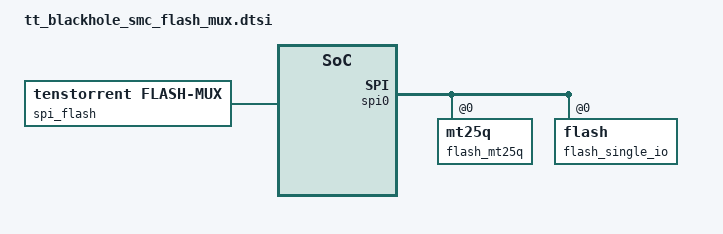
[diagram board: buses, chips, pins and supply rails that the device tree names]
/*
 * Copyright (c) 2026 Tenstorrent AI ULC
 *
 * SPDX-License-Identifier: Apache-2.0
 */

/*
 * Runtime-selected flash configuration. Replaces the spi_flash chip node
 * with one candidate configuration per supported chip and a mux that
 * selects among them at boot: the MT25Q that every board revision was
 * qualified with, plus a standard SPI fallback that accepts anything
 * else. tt_blackhole_smc_flash_second_source.dtsi adds fast
 * configurations for the other qualified parts.
 *
 * Include from a board revision overlay, before any partition
 * adjustments.
 */

/delete-node/ &spi_flash;

/* Properties common to every flash candidate below. All describe the same
 * physical chip on CS 0.
 *
 * Programming has experimentally been reliable up to 17 MHz, use 15 to be
 * safe. Reading can operate at higher frequencies: reliable up to 50 MHz,
 * use 40 to be safe.
 */
#define TT_SPI_FLASH_COMMON \
	compatible = "jedec,mspi-nor"; \
	reg = <0>; \
	status = "okay"; \
	size = <DT_SIZE_M(512)>; \
	mspi-max-frequency = <DT_FREQ_M(15)>; \
	read-frequency = <DT_FREQ_M(40)>; \
	mspi-data-rate = "MSPI_DATA_RATE_SINGLE"; \
	use-4byte-addressing; \
	mspi-endian = "MSPI_BIG_ENDIAN"; \
	transfer-timeout = <100>;

&spi0 {
	/* The flash candidates below are distinct devices for the same chip;
	 * reconfigure the controller whenever a different one accesses it.
	 */
	software-multiperipheral;

	/* One candidate configuration per supported flash chip. All probe
	 * at boot; the driver's jedec-id check fails initialization for
	 * every candidate but the one matching the fitted chip, and the
	 * spi_flash mux then selects the first that succeeded.
	 */
	flash_mt25q: mt25q@0 {
		TT_SPI_FLASH_COMMON
		jedec-id = [20 bb 20]; /* Micron MT25QU512ABB */
		mspi-io-mode = "MSPI_IO_MODE_QUAD_1_4_4";
		quad-enable-requirements = "NONE";
		read-command = <0xec>;
		rx-dummy = <10>;
		write-command = <0x3e>; /* 1-4-4 extended quad input page program */
	};

	/* flash_single_io omits jedec-id and so accepts any chip, as a slow
	 * universal fallback that keeps an unrecognized chip readable and
	 * reflashable. Keep it last in flash-devices.
	 */
	flash_single_io: flash@0 {
		TT_SPI_FLASH_COMMON
		/* No jedec-id: accepts any chip. The driver defaults for
		 * single-lane 4-byte addressing are universal commands: 0Ch
		 * fast read with 8 dummy cycles, 12h page program.
		 */
		mspi-io-mode = "MSPI_IO_MODE_SINGLE";
		quad-enable-requirements = "NONE";
		rx-dummy = <8>;
	};
};

/ {
	/* Selects the first candidate that accepted the chip. Consumers
	 * access the flash through this node.
	 */
	spi_flash: flash-mux {
		compatible = "tenstorrent,flash-mux";
		status = "okay";
		flash-devices = <&flash_mt25q &flash_single_io>;

		#address-cells = <1>;
		#size-cells = <1>;

		nv_flash: nv-flash@0 {
			compatible = "soc-nv-flash";
			reg = <0x0 DT_SIZE_M(512)>;
			write-block-size = <1>;
			erase-block-size = <4096>;
		};
	};
};

/* The base devicetree's partitions were deleted along with the spi_flash
 * node they lived under; recreate them under the mux.
 */
&nv_flash {
#include "tt_blackhole_fixed_partitions.dtsi"
};
